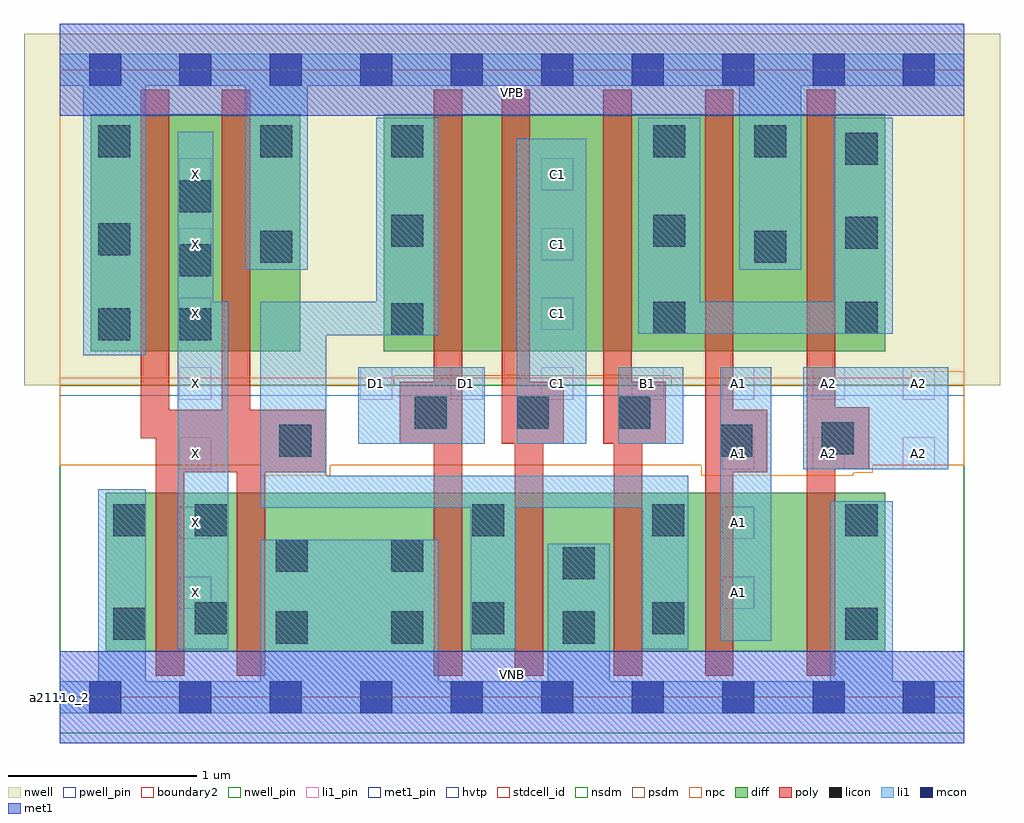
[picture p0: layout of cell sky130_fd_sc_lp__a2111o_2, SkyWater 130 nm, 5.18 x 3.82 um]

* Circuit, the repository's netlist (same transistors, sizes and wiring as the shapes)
* Copyright 2020 The SkyWater PDK Authors
*
* Licensed under the Apache License, Version 2.0 (the "License");
* you may not use this file except in compliance with the License.
* You may obtain a copy of the License at
*
*     https://www.apache.org/licenses/LICENSE-2.0
*
* Unless required by applicable law or agreed to in writing, software
* distributed under the License is distributed on an "AS IS" BASIS,
* WITHOUT WARRANTIES OR CONDITIONS OF ANY KIND, either express or implied.
* See the License for the specific language governing permissions and
* limitations under the License.
*
* SPDX-License-Identifier: Apache-2.0

.SUBCKT sky130_fd_sc_lp__a2111o_2 A1 A2 B1 C1 D1 VGND VNB VPB VPWR X
*.PININFO A1:I A2:I B1:I C1:I D1:I VGND:I VNB:I VPB:I VPWR:I X:O
MMPA0 pndA A1 VPWR VPB sky130_fd_pr__pfet_01v8_hvt m=1 w=1.26U l=0.15U mult=1 sa=0.265
+ sb=0.265 sd=0.28 area=0.063 perim=1.14
MMPA1 pndA A2 VPWR VPB sky130_fd_pr__pfet_01v8_hvt m=1 w=1.26U l=0.15U mult=1 sa=0.265
+ sb=0.265 sd=0.28 area=0.063 perim=1.14
MMPB0 pndB B1 pndA VPB sky130_fd_pr__pfet_01v8_hvt m=1 w=1.26U l=0.15U mult=1 sa=0.265
+ sb=0.265 sd=0.28 area=0.063 perim=1.14
MMPC0 pndC C1 pndB VPB sky130_fd_pr__pfet_01v8_hvt m=1 w=1.26U l=0.15U mult=1 sa=0.265
+ sb=0.265 sd=0.28 area=0.063 perim=1.14
MMPD0 y D1 pndC VPB sky130_fd_pr__pfet_01v8_hvt m=1 w=1.26U l=0.15U mult=1 sa=0.265
+ sb=0.265 sd=0.28 area=0.063 perim=1.14
MMIPX X y VPWR VPB sky130_fd_pr__pfet_01v8_hvt m=2 w=1.26U l=0.15U mult=1 sa=0.265
+ sb=0.265 sd=0.28 area=0.063 perim=1.14
MMNA0 y A1 sndA1 VNB sky130_fd_pr__nfet_01v8 m=1 w=0.84U l=0.15U mult=1 sa=0.265
+ sb=0.265 sd=0.28 area=0.063 perim=1.14
MMNA1 sndA1 A2 VGND VNB sky130_fd_pr__nfet_01v8 m=1 w=0.84U l=0.15U mult=1 sa=0.265
+ sb=0.265 sd=0.28 area=0.063 perim=1.14
MMNB0 y B1 VGND VNB sky130_fd_pr__nfet_01v8 m=1 w=0.84U l=0.15U mult=1 sa=0.265
+ sb=0.265 sd=0.28 area=0.063 perim=1.14
MMNC0 y C1 VGND VNB sky130_fd_pr__nfet_01v8 m=1 w=0.84U l=0.15U mult=1 sa=0.265
+ sb=0.265 sd=0.28 area=0.063 perim=1.14
MMND0 y D1 VGND VNB sky130_fd_pr__nfet_01v8 m=1 w=0.84U l=0.15U mult=1 sa=0.265
+ sb=0.265 sd=0.28 area=0.063 perim=1.14
MMINX X y VGND VNB sky130_fd_pr__nfet_01v8 m=2 w=0.84U l=0.15U mult=1 sa=0.265
+ sb=0.265 sd=0.28 area=0.063 perim=1.14
.ENDS sky130_fd_sc_lp__a2111o_2

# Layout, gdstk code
import gdstk
lib = gdstk.Library(unit=1e-6, precision=1e-09)
def R(c, l, rs):  # rectangles x0, y0, x1, y1
    for r in rs: c.add(gdstk.rectangle(r[:2], r[2:], *l))
def A(c, l, x, y, w, h, nx, ny, dx, dy):  # array of equal rectangles
    R(c, l, [(x+i*dx, y+j*dy, x+i*dx+w, y+j*dy+h) for i in range(nx) for j in range(ny)])
def P(c, l, *ps):  # polygons
    for p in ps: c.add(gdstk.Polygon(p, *l))
nwell_pin = (64, 16)
nwell = (64, 20)
diff = (65, 20)
poly = (66, 20)
licon = (66, 44)
li1_pin = (67, 16)
li1 = (67, 20)
mcon = (67, 44)
met1_pin = (68, 16)
met1 = (68, 20)
hvtp = (78, 44)
stdcell_id = (81, 4)
nsdm = (93, 44)
psdm = (94, 20)
npc = (95, 20)
pwell_pin = (122, 16)
boundary2 = (236, 0)

sky130_fd_sc_lp__a2111o_ = lib.new_cell('sky130_fd_sc_lp__a2111o_2')
R(sky130_fd_sc_lp__a2111o_, nwell_pin, [(0,3.085,4.8,3.33)])
R(sky130_fd_sc_lp__a2111o_, nwell, [(-0.19,1.655,4.99,3.52)])
R(sky130_fd_sc_lp__a2111o_, diff, [(0.245,0.245,4.38,1.085), (0.165,1.835,1.275,3.095), (1.72,1.835,4.38,3.095)])
P(sky130_fd_sc_lp__a2111o_, poly, [(1.09,1.195),(1.415,1.195),(1.415,1.525),(1.01,1.525),(1.01,3.225),(0.86,3.225),(0.86,1.525),(0.58,1.525),(0.58,3.225),(0.43,3.225),(0.43,1.375),(0.51,1.375),(0.51,0.115),(0.66,0.115),(0.66,1.195),(0.94,1.195),(0.94,0.115),(1.09,0.115)],
  [(2.135,3.225),(1.985,3.225),(1.985,1.675),(1.805,1.675),(1.805,1.345),(1.985,1.345),(1.985,0.115),(2.135,0.115)],
  [(2.675,1.675),(2.495,1.675),(2.495,3.225),(2.345,3.225),(2.345,1.345),(2.415,1.345),(2.415,0.115),(2.565,0.115),(2.565,1.345),(2.675,1.345)],
  [(3.215,1.675),(3.035,1.675),(3.035,3.225),(2.885,3.225),(2.885,1.345),(2.94,1.345),(2.94,0.115),(3.09,0.115),(3.09,1.345),(3.215,1.345)],
  [(3.755,1.525),(3.575,1.525),(3.575,3.225),(3.425,3.225),(3.425,0.115),(3.575,0.115),(3.575,1.195),(3.755,1.195)],
  [(4.295,1.54),(4.115,1.54),(4.115,3.225),(3.965,3.225),(3.965,0.115),(4.115,0.115),(4.115,1.21),(4.295,1.21)])
A(sky130_fd_sc_lp__a2111o_, licon, 1.885, 1.425, 0.17, 0.17, 3, 1, 0.54, 0)
A(sky130_fd_sc_lp__a2111o_, licon, 0.635, 1.895, 0.17, 0.17, 1, 3, 0, 0.34)
R(sky130_fd_sc_lp__a2111o_, licon, [(1.145,0.285,1.315,0.455), (1.76,0.285,1.93,0.455), (2.67,0.285,2.84,0.455), (0.285,0.305,0.455,0.475), (4.17,0.305,4.34,0.475), (0.715,0.335,0.885,0.505), (2.19,0.335,2.36,0.505), (3.145,0.335,3.315,0.505), (2.67,0.625,2.84,0.795), (1.145,0.665,1.315,0.835), (1.76,0.665,1.93,0.835), (0.285,0.855,0.455,1.025), (0.715,0.855,0.885,1.025), (2.19,0.855,2.36,1.025), (3.145,0.855,3.315,1.025), (4.17,0.855,4.34,1.025), (1.165,1.275,1.335,1.445), (3.505,1.275,3.675,1.445), (4.045,1.29,4.215,1.46), (0.205,1.895,0.375,2.065), (1.76,1.92,1.93,2.09), (3.15,1.93,3.32,2.1), (4.17,1.93,4.34,2.1), (1.065,2.305,1.235,2.475), (3.685,2.305,3.855,2.475), (0.205,2.345,0.375,2.515), (4.17,2.38,4.34,2.55), (1.76,2.39,1.93,2.56), (3.15,2.39,3.32,2.56), (4.17,2.825,4.34,2.995), (0.205,2.865,0.375,3.035), (1.065,2.865,1.235,3.035), (1.76,2.865,1.93,3.035), (3.15,2.865,3.32,3.035), (3.685,2.865,3.855,3.035)])
A(sky130_fd_sc_lp__a2111o_, li1_pin, 0.635, 0.47, 0.17, 0.17, 1, 7, 0, 0.37)
A(sky130_fd_sc_lp__a2111o_, li1_pin, 3.515, 1.21, 0.17, 0.17, 3, 1, 0.48, 0)
A(sky130_fd_sc_lp__a2111o_, li1_pin, 1.595, 1.58, 0.17, 0.17, 7, 1, 0.48, 0)
A(sky130_fd_sc_lp__a2111o_, li1_pin, 2.555, 1.95, 0.17, 0.17, 1, 3, 0, 0.37)
R(sky130_fd_sc_lp__a2111o_, li1_pin, [(3.515,0.47,3.685,0.64), (3.515,0.84,3.685,1.01)])
R(sky130_fd_sc_lp__a2111o_, li1, [(3.505,0.3,3.775,1.75), (3.945,1.21,4.715,1.75), (1.585,1.345,2.255,1.75), (2.425,1.345,2.795,2.965), (2.965,1.345,3.31,1.75)])
P(sky130_fd_sc_lp__a2111o_, li1, [(0.985,2.27),(0.985,3.245),(0.455,3.245),(0.455,1.815),(0.125,1.815),(0.125,3.245),(0,3.245),(0,3.415),(4.8,3.415),(4.8,3.245),(3.935,3.245),(3.935,2.27),(3.605,2.27),(3.605,3.245),(1.315,3.245),(1.315,2.27)],
  [(4.09,0.085),(4.09,1.04),(4.42,1.04),(4.42,0.085),(4.8,0.085),(4.8,-0.085),(0,-0.085),(0,0.085),(0.205,0.085),(0.205,1.105),(0.455,1.105),(0.455,0.085),(1.065,0.085),(1.065,0.835),(2.01,0.835),(2.01,0.085),(2.59,0.085),(2.59,0.815),(2.92,0.815),(2.92,0.085)],
  [(0.625,0.255),(0.625,3),(0.815,3),(0.815,2.1),(0.895,2.1),(0.895,0.255)],
  [(3.4,2.1),(4.105,2.1),(4.105,3.075),(4.42,3.075),(4.42,1.93),(3.07,1.93),(3.07,3.075),(3.4,3.075)],
  [(1.065,2.1),(1.68,2.1),(1.68,3.075),(2.01,3.075),(2.01,1.92),(1.415,1.92),(1.415,1.175),(3.335,1.175),(3.335,0.255),(3.09,0.255),(3.09,1.005),(2.42,1.005),(2.42,0.255),(2.18,0.255),(2.18,1.005),(1.065,1.005)])
A(sky130_fd_sc_lp__a2111o_, mcon, 0.155, -0.085, 0.17, 0.17, 10, 2, 0.48, 3.33)
R(sky130_fd_sc_lp__a2111o_, met1_pin, [(0,0,4.8,0.245), (0,3.085,4.8,3.33)])
R(sky130_fd_sc_lp__a2111o_, met1, [(0,-0.245,4.8,0.245), (0,3.085,4.8,3.575)])
R(sky130_fd_sc_lp__a2111o_, hvtp, [(0,1.6,4.8,3.33)])
R(sky130_fd_sc_lp__a2111o_, stdcell_id, [(0,0,4.8,3.33)])
R(sky130_fd_sc_lp__a2111o_, nsdm, [(0,-0.19,4.8,1.655)])
P(sky130_fd_sc_lp__a2111o_, psdm, [(4.8,3.52),(0,3.52),(0,1.655),(1.775,1.655),(1.775,1.705),(3.245,1.705),(3.245,1.655),(4.8,1.655)])
P(sky130_fd_sc_lp__a2111o_, npc, [(4.8,1.73),(4.52,1.73),(4.52,1.695),(0,1.695),(0,1.23),(1.065,1.23),(1.065,1.175),(1.435,1.175),(1.435,1.23),(3.405,1.23),(3.405,1.175),(4.21,1.175),(4.21,1.19),(4.315,1.19),(4.315,1.23),(4.8,1.23)])
R(sky130_fd_sc_lp__a2111o_, pwell_pin, [(0,0,4.8,0.245)])
R(sky130_fd_sc_lp__a2111o_, boundary2, [(0,0,4.8,3.33)])
sky130_fd_sc_lp__a2111o_.add(gdstk.Label('VNB', (2.4,0.123), layer=64, texttype=59))
sky130_fd_sc_lp__a2111o_.add(gdstk.Label('VPB', (2.4,3.208), layer=64, texttype=5))
sky130_fd_sc_lp__a2111o_.add(gdstk.Label('a2111o_2', (0,0), layer=83, texttype=44))
sky130_fd_sc_lp__a2111o_.add(gdstk.Label('VPWR', (2.4,3.208), layer=68, texttype=5))
sky130_fd_sc_lp__a2111o_.add(gdstk.Label('VGND', (2.4,0.123), layer=68, texttype=5))
sky130_fd_sc_lp__a2111o_.add(gdstk.Label('X', (0.72,0.555), layer=67, texttype=5))
sky130_fd_sc_lp__a2111o_.add(gdstk.Label('X', (0.72,0.925), layer=67, texttype=5))
sky130_fd_sc_lp__a2111o_.add(gdstk.Label('X', (0.72,1.295), layer=67, texttype=5))
sky130_fd_sc_lp__a2111o_.add(gdstk.Label('X', (0.72,1.665), layer=67, texttype=5))
sky130_fd_sc_lp__a2111o_.add(gdstk.Label('X', (0.72,2.035), layer=67, texttype=5))
sky130_fd_sc_lp__a2111o_.add(gdstk.Label('X', (0.72,2.405), layer=67, texttype=5))
sky130_fd_sc_lp__a2111o_.add(gdstk.Label('X', (0.72,2.775), layer=67, texttype=5))
sky130_fd_sc_lp__a2111o_.add(gdstk.Label('A1', (3.6,0.555), layer=67, texttype=5))
sky130_fd_sc_lp__a2111o_.add(gdstk.Label('A1', (3.6,0.925), layer=67, texttype=5))
sky130_fd_sc_lp__a2111o_.add(gdstk.Label('A1', (3.6,1.295), layer=67, texttype=5))
sky130_fd_sc_lp__a2111o_.add(gdstk.Label('A1', (3.6,1.665), layer=67, texttype=5))
sky130_fd_sc_lp__a2111o_.add(gdstk.Label('A2', (4.08,1.295), layer=67, texttype=5))
sky130_fd_sc_lp__a2111o_.add(gdstk.Label('A2', (4.08,1.665), layer=67, texttype=5))
sky130_fd_sc_lp__a2111o_.add(gdstk.Label('A2', (4.56,1.295), layer=67, texttype=5))
sky130_fd_sc_lp__a2111o_.add(gdstk.Label('A2', (4.56,1.665), layer=67, texttype=5))
sky130_fd_sc_lp__a2111o_.add(gdstk.Label('B1', (3.12,1.665), layer=67, texttype=5))
sky130_fd_sc_lp__a2111o_.add(gdstk.Label('C1', (2.64,1.665), layer=67, texttype=5))
sky130_fd_sc_lp__a2111o_.add(gdstk.Label('C1', (2.64,2.035), layer=67, texttype=5))
sky130_fd_sc_lp__a2111o_.add(gdstk.Label('C1', (2.64,2.405), layer=67, texttype=5))
sky130_fd_sc_lp__a2111o_.add(gdstk.Label('C1', (2.64,2.775), layer=67, texttype=5))
sky130_fd_sc_lp__a2111o_.add(gdstk.Label('D1', (1.68,1.665), layer=67, texttype=5))
sky130_fd_sc_lp__a2111o_.add(gdstk.Label('D1', (2.16,1.665), layer=67, texttype=5))

lib.write_gds('sky130_fd_sc_lp__a2111o_2.gds')
